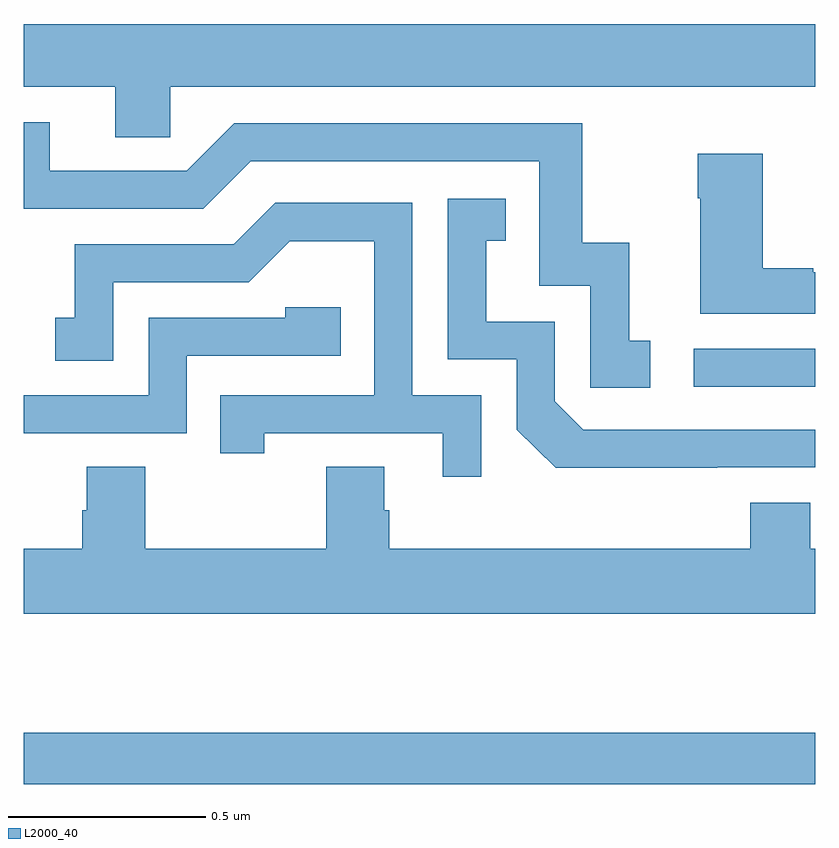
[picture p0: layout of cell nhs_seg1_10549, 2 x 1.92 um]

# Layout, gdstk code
import gdstk
lib = gdstk.Library(unit=1e-6, precision=1e-09)
def R(c, l, rs):  # rectangles x0, y0, x1, y1
    for r in rs: c.add(gdstk.rectangle(r[:2], r[2:], *l))
def P(c, l, *ps):  # polygons
    for p in ps: c.add(gdstk.Polygon(p, *l))
L2000_40 = (2000, 40)

nhs_seg1_10549 = lib.new_cell('nhs_seg1_10549')
R(nhs_seg1_10549, L2000_40, [(242,575.278,244,575.407), (243.693,576.282,244,576.378)])
P(nhs_seg1_10549, L2000_40, [(242,577.04),(242.231,577.04),(242.231,576.913),(242.37,576.913),(242.37,577.04),(244,577.04),(244,577.199),(242,577.199)],
  [(243.583,576.399),(243.53,576.399),(243.53,576.646),(243.412,576.646),(243.412,576.948),(242.532,576.948),(242.412,576.828),(242.065,576.828),(242.065,576.951),(242,576.951),(242,576.732),(242.454,576.732),(242.574,576.852),(243.303,576.852),(243.303,576.537),(243.432,576.537),(243.432,576.279),(243.583,576.279)],
  [(244,576.571),(243.995,576.571),(243.995,576.581),(243.868,576.581),(243.868,576.871),(243.703,576.871),(243.703,576.758),(243.71,576.758),(243.71,576.467),(244,576.467)],
  [(243.752,576.078),(244,576.078),(244,576.174),(243.414,576.174),(243.342,576.246),(243.342,576.447),(243.169,576.447),(243.169,576.651),(243.218,576.651),(243.218,576.757),(243.072,576.757),(243.072,576.351),(243.246,576.351),(243.246,576.174),(243.344,576.077),(243.752,576.077)],
  [(243.156,576.261),(242.982,576.261),(242.982,576.747),(242.636,576.747),(242.531,576.642),(242.128,576.642),(242.128,576.457),(242.079,576.457),(242.079,576.348),(242.226,576.348),(242.226,576.546),(242.568,576.546),(242.672,576.65),(242.886,576.65),(242.886,576.261),(242.497,576.261),(242.497,576.114),(242.608,576.114),(242.608,576.165),(243.059,576.165),(243.059,576.054),(243.156,576.054)],
  [(242.412,576.36),(242.801,576.36),(242.801,576.483),(242.661,576.483),(242.661,576.456),(242.316,576.456),(242.316,576.261),(242,576.261),(242,576.165),(242.412,576.165)],
  [(244,575.872),(243.988,575.872),(243.988,575.989),(243.836,575.989),(243.836,575.872),(242.924,575.872),(242.924,575.97),(242.911,575.97),(242.911,576.08),(242.764,576.08),(242.764,575.872),(242.307,575.872),(242.307,576.08),(242.159,576.08),(242.159,575.97),(242.147,575.97),(242.147,575.872),(242,575.872),(242,575.708),(244,575.708)])

lib.write_gds('nhs_seg1_10549.gds')
